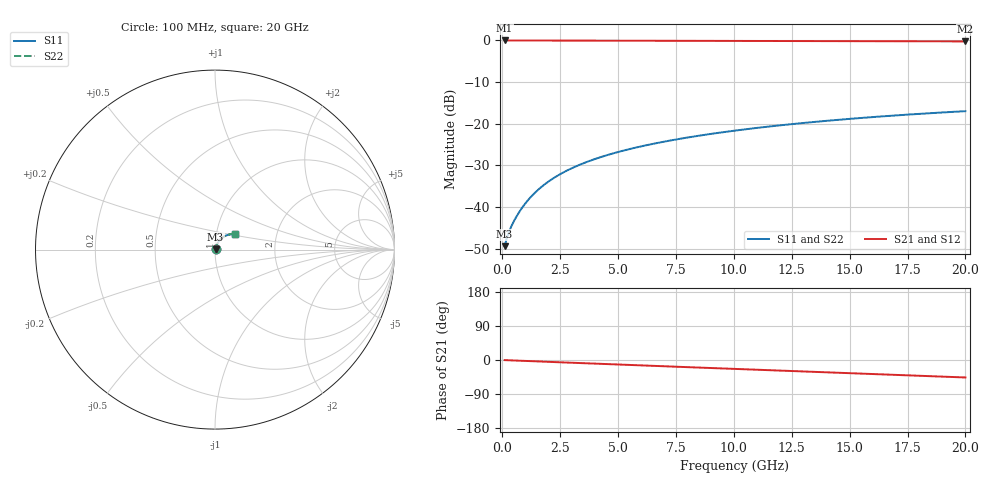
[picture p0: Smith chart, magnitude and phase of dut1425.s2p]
! Touchstone file exported from HFSS 2026.1.0
!  File:  C:/ffzhzh/LocalFiles/Ansys_Project_Files/temp_train_BSMRDL_1425_1783180300_55132.aedt
!  Generated:  11:52:50 PM Jul  4, 2026
!  Design:  BSMRDL
!  Project:  temp_train_BSMRDL_1425_1783180300_55132
! Variables:
!  h_bsmrdl = 5.32um
!  h_ox = 20um
!  h_rdl = 5um
!  h_sub = 80um
!  h_tmrdl = 5um
!  h_tsv = 80um
!  h_via = 3um
!  l_bsmrdl = 819.07um
!  l_sub = 1219.07um
!  l_tmrdl = 200um
!  m_sub = 200um
!  pitch = 27.56um
!  r_tsv = 6um
!  s_tmrdl = 10um
!  w_bsmrdl = 19.27um
!  w_sub = 500um
!  w_tmrdl = 12um
!  x_tsv_center1 = 206um
!  x_tsv_center2 = 1044.34um
!  x_tsv_center3 = 1256.34um
!  x_tsv_center4 = 2094.68um
!  x_tsv_center5 = 2306.68um
!  x_tsv_center6 = 3145.02um
# GHz S MA R 50.000000
! Terminal data exported
! Port[1] = BSM_RDL1_1_T1
! Port[2] = BSM_RDL1_1_T2
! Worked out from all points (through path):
!   200 points, 100 MHz to 20 GHz, reference 50 ohm
!   highest |S21| = -0.03 dB at 100 MHz (marker M1); lowest = -0.3 dB at 20 GHz (marker M2)
!   group delay of S21, straight-line fit = 6.38 ps
!   lowest |S11| = -49.4 dB at 100 MHz (marker M3), VSWR 1.01, Z = 50.3 + j0.143 ohm
!   |S11| at or under -10 dB: start of sweep to end of sweep
!   |S22| runs from -49.4 to -17.0 dB; largest |S21 - S12| = 4.1e-15
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0.1  0.003384 24.9  0.9969 -0.3  0.9969 -0.3  0.003384 24.9
! Gamma 0 0 0 0
! Port Impedance 50 0 50 0
0.2  0.004279 36.9  0.9966 -0.5  0.9966 -0.5  0.004279 36.9
0.3  0.005127 43.6  0.9963 -0.8  0.9963 -0.8  0.005127 43.6
0.5  0.006741 52.6  0.996 -1.2  0.996 -1.2  0.00674 52.7
0.7  0.008417 58.6  0.9958 -1.7  0.9958 -1.7  0.008416 58.7
0.9  0.01017 62.6  0.9956 -2.2  0.9956 -2.2  0.01017 62.7
1.1  0.01198 65.3  0.9955 -2.7  0.9955 -2.7  0.01198 65.3
1.3  0.01381 67.1  0.9952 -3.2  0.9952 -3.2  0.01381 67.1
1.7  0.0175 69.0  0.9948 -4.1  0.9948 -4.1  0.01749 69.0
2.2  0.02207 69.8  0.9941 -5.3  0.9941 -5.3  0.02206 69.9
2.8  0.02742 69.7  0.9932 -6.8  0.9932 -6.8  0.02741 69.8
3.5  0.03345 68.9  0.9921 -8.4  0.9921 -8.4  0.03344 69.0
4.2  0.03926 67.8  0.991 -10.1  0.991 -10.1  0.03925 67.9
5  0.04567 66.5  0.9898 -11.9  0.9898 -11.9  0.04565 66.6
5.9  0.05265 64.8  0.9885 -14.0  0.9885 -14.0  0.05262 65.0
6.8  0.05942 63.2  0.9872 -16.1  0.9872 -16.1  0.05938 63.3
8.3  0.07033 60.3  0.9852 -19.5  0.9852 -19.5  0.07028 60.6
10.1  0.08288 56.9  0.983 -23.7  0.983 -23.7  0.08281 57.1
11.7  0.09357 53.7  0.981 -27.3  0.981 -27.3  0.09348 54.0
13.4  0.1044 50.3  0.979 -31.2  0.979 -31.2  0.1043 50.7
16.7  0.124 43.5  0.9751 -38.7  0.9751 -38.7  0.1238 44.0
20  0.1412 36.6  0.9715 -46.1  0.9715 -46.1  0.141 37.2
